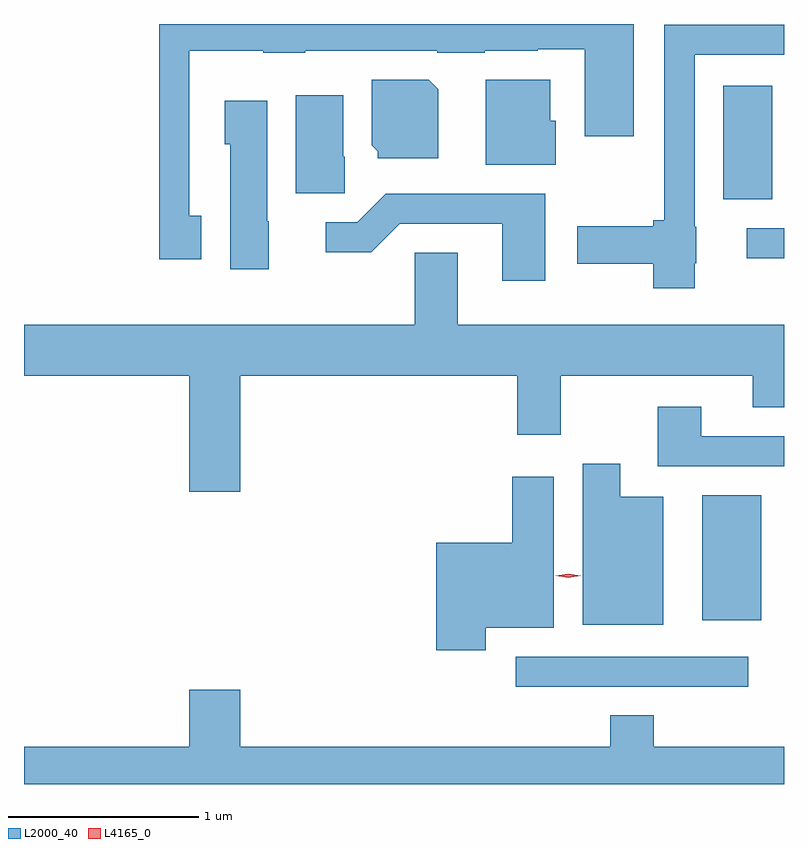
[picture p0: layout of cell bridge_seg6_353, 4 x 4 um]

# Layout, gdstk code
import gdstk
lib = gdstk.Library(unit=1e-6, precision=1e-09)
def R(c, l, rs):  # rectangles x0, y0, x1, y1
    for r in rs: c.add(gdstk.rectangle(r[:2], r[2:], *l))
def P(c, l, *ps):  # polygons
    for p in ps: c.add(gdstk.Polygon(p, *l))
L2000_40 = (2000, 40)
L4165_0 = (4165, 0)

bridge_seg6_353 = lib.new_cell('bridge_seg6_353')
R(bridge_seg6_353, L2000_40, [(1375.633,1557.281,1376.858,1557.439), (1376.616,1557.631,1376.924,1558.289), (1376.848,1559.536,1377.045,1559.694), (1376.726,1559.846,1376.984,1560.444)])
P(bridge_seg6_353, L2000_40, [(1373.979,1559.759),(1373.914,1559.759),(1373.914,1560.626),(1374.305,1560.626),(1374.305,1560.616),(1374.525,1560.616),(1374.525,1560.626),(1375.22,1560.626),(1375.22,1560.616),(1375.47,1560.616),(1375.47,1560.626),(1375.75,1560.626),(1375.75,1560.636),(1375.996,1560.636),(1375.996,1560.176),(1376.254,1560.176),(1376.254,1560.768),(1373.756,1560.768),(1373.756,1559.531),(1373.979,1559.531)],
  [(1376.574,1559.51),(1376.584,1559.51),(1376.584,1559.7),(1376.574,1559.7),(1376.574,1560.606),(1377.045,1560.606),(1377.045,1560.764),(1376.416,1560.764),(1376.416,1559.734),(1376.356,1559.734),(1376.356,1559.704),(1375.956,1559.704),(1375.956,1559.506),(1376.356,1559.506),(1376.356,1559.376),(1376.574,1559.376)],
  [(1375.844,1560.259),(1375.814,1560.259),(1375.814,1560.474),(1375.476,1560.474),(1375.476,1560.026),(1375.844,1560.026)],
  [(1375.224,1560.424),(1375.174,1560.474),(1374.876,1560.474),(1374.876,1560.129),(1374.906,1560.099),(1374.906,1560.061),(1375.224,1560.061)],
  [(1374.734,1560.07),(1374.724,1560.07),(1374.724,1560.394),(1374.476,1560.394),(1374.476,1559.876),(1374.734,1559.876)],
  [(1374.334,1559.73),(1374.324,1559.73),(1374.324,1560.364),(1374.101,1560.364),(1374.101,1560.136),(1374.131,1560.136),(1374.131,1559.476),(1374.334,1559.476)],
  [(1375.789,1559.874),(1374.949,1559.874),(1374.799,1559.724),(1374.633,1559.724),(1374.633,1559.566),(1374.872,1559.566),(1375.022,1559.716),(1375.561,1559.716),(1375.561,1559.416),(1375.789,1559.416)],
  [(1374.184,1558.916),(1375.641,1558.916),(1375.641,1558.606),(1375.869,1558.606),(1375.869,1558.916),(1376.881,1558.916),(1376.881,1558.751),(1377.045,1558.751),(1377.045,1559.184),(1375.329,1559.184),(1375.329,1559.564),(1375.101,1559.564),(1375.101,1559.184),(1373.045,1559.184),(1373.045,1558.916),(1373.916,1558.916),(1373.916,1558.306),(1374.184,1558.306)],
  [(1377.045,1558.599),(1376.609,1558.599),(1376.609,1558.754),(1376.381,1558.754),(1376.381,1558.441),(1377.045,1558.441)],
  [(1376.409,1558.279),(1376.184,1558.279),(1376.184,1558.454),(1375.986,1558.454),(1375.986,1557.606),(1376.409,1557.606)],
  [(1375.474,1557.591),(1375.834,1557.591),(1375.834,1558.384),(1375.616,1558.384),(1375.616,1558.039),(1375.216,1558.039),(1375.216,1557.471),(1375.474,1557.471)],
  [(1377.045,1556.964),(1376.359,1556.964),(1376.359,1557.129),(1376.131,1557.129),(1376.131,1556.964),(1374.184,1556.964),(1374.184,1557.264),(1373.916,1557.264),(1373.916,1556.964),(1373.045,1556.964),(1373.045,1556.768),(1377.045,1556.768)])
P(bridge_seg6_353, L4165_0, [(1375.91,1557.854),(1375.844,1557.863),(1375.843,1557.864),(1375.844,1557.864),(1375.91,1557.874),(1375.976,1557.865),(1375.976,1557.864),(1375.976,1557.864)])

lib.write_gds('bridge_seg6_353.gds')
